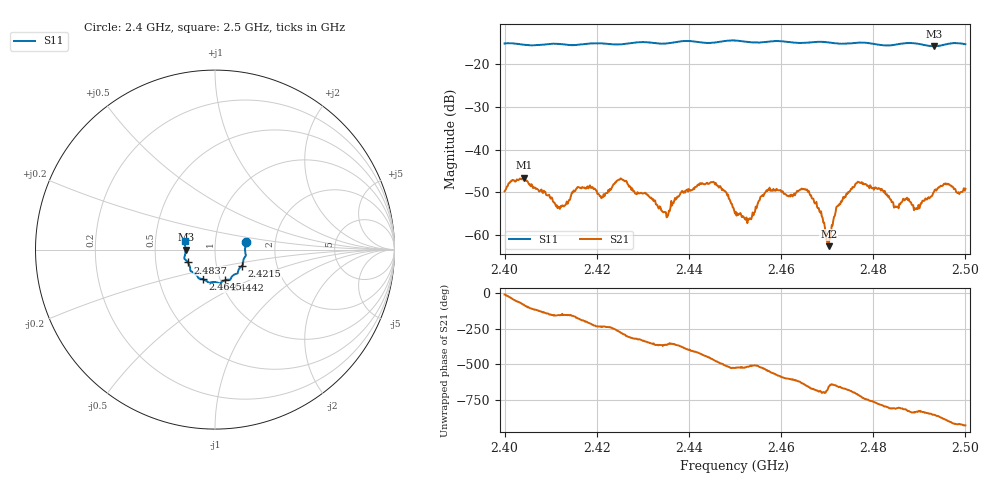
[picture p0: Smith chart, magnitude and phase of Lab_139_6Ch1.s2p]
# Hz S RI R 50
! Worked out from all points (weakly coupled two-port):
!   601 points, 2.4 GHz to 2.5 GHz, reference 50 ohm
!   highest |S21| = -46.60 dB at 2.4042 GHz (marker M1); lowest = -62.6 dB at 2.4703 GHz (marker M2)
!   lowest |S11| = -15.7 dB at 2.4932 GHz (marker M3), VSWR 1.39, Z = 36 - j0.055 ohm
!   |S11| at or under -10 dB: start of sweep to end of sweep
!   S12 and S22 are empty: the file has one direction only
!   S11 on the Smith chart (normalised r, x): 2.4 GHz: 1.41, +0.12; 2.4215 GHz: 1.33, -0.25; 2.4442 GHz: 1.05, -0.37; 2.4645 GHz: 0.83, -0.29; 2.4837 GHz: 0.73, -0.11; 2.5 GHz: 0.71, +0.07
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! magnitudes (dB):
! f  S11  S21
! 2.4 GHz  -15.1  -49.8
! 2.4042 GHz  -15.4  -46.6
! 2.4117 GHz  -15.2  -53.4
! 2.4167 GHz  -15.3  -49.1
! 2.4215 GHz  -15.1  -50.4
! 2.4253 GHz  -15.3  -46.9
! 2.4333 GHz  -15.1  -53.6
! 2.4353 GHz  -15.1  -55.7
! 2.4442 GHz  -15.0  -48.0
! 2.45 GHz  -14.4  -55.0
! 2.4532 GHz  -14.8  -56.1
! 2.457 GHz  -14.7  -49.7
! 2.4645 GHz  -15.0  -49.1
! 2.4667 GHz  -14.8  -51.4
! 2.4703 GHz  -14.8  -62.6
! 2.4723 GHz  -15.1  -53.1
! 2.4765 GHz  -14.9  -47.8
! 2.4833 GHz  -15.6  -50.8
! 2.4837 GHz  -15.5  -51.6
! 2.4893 GHz  -15.1  -54.0
! 2.4932 GHz  -15.7  -49.9
! 2.5 GHz  -15.3  -49.2
